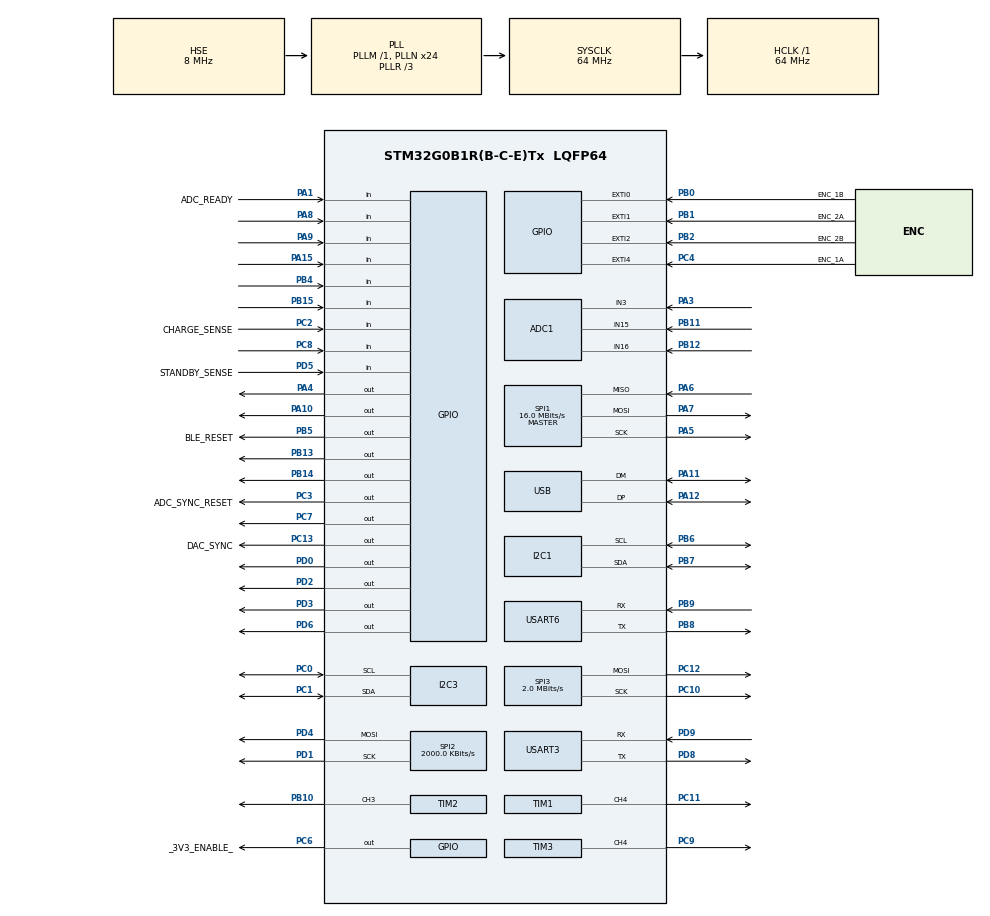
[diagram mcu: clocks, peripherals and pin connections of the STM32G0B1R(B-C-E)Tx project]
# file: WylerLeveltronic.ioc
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ADC1.NbrOfConversion=1
ADC1.NbrOfConversionFlag=0
ADC1.OversamplingMode=ENABLE
ADC1.Ratio=ADC_OVERSAMPLING_RATIO_16
ADC1.RightBitShift=ADC_RIGHTBITSHIFT_4
ADC1.SamplingTimeCommon1=ADC_SAMPLETIME_160CYCLES_5
ADC1.SelectedChannel=ADC_CHANNEL_3|ADC_CHANNEL_VREFINT|ADC_CHANNEL_15|ADC_CHANNEL_16
ADC1.Sequencer=NOT_FULLY_CONFIGURABLE
ADC1.master=1
Dma.ADC1.6.Direction=DMA_PERIPH_TO_MEMORY
Dma.ADC1.6.EventEnable=DISABLE
Dma.ADC1.6.Instance=DMA1_Channel7
Dma.ADC1.6.MemDataAlignment=DMA_MDATAALIGN_HALFWORD
Dma.ADC1.6.MemInc=DMA_MINC_ENABLE
Dma.ADC1.6.Mode=DMA_NORMAL
Dma.ADC1.6.PeriphDataAlignment=DMA_PDATAALIGN_HALFWORD
Dma.ADC1.6.PeriphInc=DMA_PINC_DISABLE
Dma.ADC1.6.Polarity=HAL_DMAMUX_REQ_GEN_RISING
Dma.ADC1.6.Priority=DMA_PRIORITY_LOW
Dma.ADC1.6.RequestNumber=1
Dma.ADC1.6.SignalID=NONE
Dma.ADC1.6.SyncEnable=DISABLE
Dma.ADC1.6.SyncPolarity=HAL_DMAMUX_SYNC_NO_EVENT
Dma.ADC1.6.SyncRequestNumber=1
Dma.ADC1.6.SyncSignalID=NONE
Dma.I2C1_RX.3.Direction=DMA_PERIPH_TO_MEMORY
Dma.I2C1_RX.3.EventEnable=DISABLE
Dma.I2C1_RX.3.Instance=DMA1_Channel4
Dma.I2C1_RX.3.MemDataAlignment=DMA_MDATAALIGN_BYTE
Dma.I2C1_RX.3.MemInc=DMA_MINC_ENABLE
Dma.I2C1_RX.3.Mode=DMA_NORMAL
Dma.I2C1_RX.3.PeriphDataAlignment=DMA_PDATAALIGN_BYTE
Dma.I2C1_RX.3.PeriphInc=DMA_PINC_DISABLE
Dma.I2C1_RX.3.Polarity=HAL_DMAMUX_REQ_GEN_RISING
Dma.I2C1_RX.3.Priority=DMA_PRIORITY_LOW
Dma.I2C1_RX.3.RequestNumber=1
Dma.I2C1_RX.3.SignalID=NONE
Dma.I2C1_RX.3.SyncEnable=DISABLE
Dma.I2C1_RX.3.SyncPolarity=HAL_DMAMUX_SYNC_NO_EVENT
Dma.I2C1_RX.3.SyncRequestNumber=1
Dma.I2C1_RX.3.SyncSignalID=NONE
Dma.I2C1_TX.4.Direction=DMA_MEMORY_TO_PERIPH
Dma.I2C1_TX.4.EventEnable=DISABLE
Dma.I2C1_TX.4.Instance=DMA1_Channel5
Dma.I2C1_TX.4.MemDataAlignment=DMA_MDATAALIGN_BYTE
Dma.I2C1_TX.4.MemInc=DMA_MINC_ENABLE
Dma.I2C1_TX.4.Mode=DMA_NORMAL
Dma.I2C1_TX.4.PeriphDataAlignment=DMA_PDATAALIGN_BYTE
Dma.I2C1_TX.4.PeriphInc=DMA_PINC_DISABLE
Dma.I2C1_TX.4.Polarity=HAL_DMAMUX_REQ_GEN_RISING
Dma.I2C1_TX.4.Priority=DMA_PRIORITY_LOW
Dma.I2C1_TX.4.RequestNumber=1
Dma.I2C1_TX.4.SignalID=NONE
Dma.I2C1_TX.4.SyncEnable=DISABLE
Dma.I2C1_TX.4.SyncPolarity=HAL_DMAMUX_SYNC_NO_EVENT
Dma.I2C1_TX.4.SyncRequestNumber=1
Dma.I2C1_TX.4.SyncSignalID=NONE
Dma.Request0=SPI2_TX
Dma.Request1=SPI1_TX
Dma.Request2=SPI1_RX
Dma.Request3=I2C1_RX
Dma.Request4=I2C1_TX
Dma.Request5=USART6_RX
Dma.Request6=ADC1
Dma.Request7=USART3_RX
Dma.Request8=USART3_TX
Dma.Request9=USART6_TX
Dma.SPI1_RX.2.Direction=DMA_PERIPH_TO_MEMORY
Dma.SPI1_RX.2.EventEnable=DISABLE
Dma.SPI1_RX.2.Instance=DMA1_Channel3
Dma.SPI1_RX.2.MemDataAlignment=DMA_MDATAALIGN_BYTE
Dma.SPI1_RX.2.MemInc=DMA_MINC_ENABLE
Dma.SPI1_RX.2.Mode=DMA_NORMAL
Dma.SPI1_RX.2.PeriphDataAlignment=DMA_PDATAALIGN_BYTE
Dma.SPI1_RX.2.PeriphInc=DMA_PINC_DISABLE
Dma.SPI1_RX.2.Polarity=HAL_DMAMUX_REQ_GEN_RISING
Dma.SPI1_RX.2.Priority=DMA_PRIORITY_LOW
Dma.SPI1_RX.2.RequestNumber=1
Dma.SPI1_RX.2.SignalID=NONE
Dma.SPI1_RX.2.SyncEnable=DISABLE
Dma.SPI1_RX.2.SyncPolarity=HAL_DMAMUX_SYNC_NO_EVENT
Dma.SPI1_RX.2.SyncRequestNumber=1
Dma.SPI1_RX.2.SyncSignalID=NONE
Dma.SPI1_TX.1.Direction=DMA_MEMORY_TO_PERIPH
Dma.SPI1_TX.1.EventEnable=DISABLE
Dma.SPI1_TX.1.Instance=DMA1_Channel2
Dma.SPI1_TX.1.MemDataAlignment=DMA_MDATAALIGN_BYTE
Dma.SPI1_TX.1.MemInc=DMA_MINC_ENABLE
Dma.SPI1_TX.1.Mode=DMA_NORMAL
Dma.SPI1_TX.1.PeriphDataAlignment=DMA_PDATAALIGN_BYTE
Dma.SPI1_TX.1.PeriphInc=DMA_PINC_DISABLE
Dma.SPI1_TX.1.Polarity=HAL_DMAMUX_REQ_GEN_RISING
Dma.SPI1_TX.1.Priority=DMA_PRIORITY_LOW
Dma.SPI1_TX.1.RequestNumber=1
Dma.SPI1_TX.1.SignalID=NONE
Dma.SPI1_TX.1.SyncEnable=DISABLE
Dma.SPI1_TX.1.SyncPolarity=HAL_DMAMUX_SYNC_NO_EVENT
Dma.SPI1_TX.1.SyncRequestNumber=1
Dma.SPI1_TX.1.SyncSignalID=NONE
Dma.SPI2_TX.0.Direction=DMA_MEMORY_TO_PERIPH
Dma.SPI2_TX.0.EventEnable=DISABLE
Dma.SPI2_TX.0.Instance=DMA1_Channel1
Dma.SPI2_TX.0.MemDataAlignment=DMA_MDATAALIGN_BYTE
Dma.SPI2_TX.0.MemInc=DMA_MINC_ENABLE
Dma.SPI2_TX.0.Mode=DMA_NORMAL
Dma.SPI2_TX.0.PeriphDataAlignment=DMA_PDATAALIGN_BYTE
Dma.SPI2_TX.0.PeriphInc=DMA_PINC_DISABLE
Dma.SPI2_TX.0.Polarity=HAL_DMAMUX_REQ_GEN_RISING
Dma.SPI2_TX.0.Priority=DMA_PRIORITY_LOW
Dma.SPI2_TX.0.RequestNumber=1
Dma.SPI2_TX.0.SignalID=NONE
Dma.SPI2_TX.0.SyncEnable=DISABLE
Dma.SPI2_TX.0.SyncPolarity=HAL_DMAMUX_SYNC_NO_EVENT
Dma.SPI2_TX.0.SyncRequestNumber=1
Dma.SPI2_TX.0.SyncSignalID=NONE
Dma.USART3_RX.7.Direction=DMA_PERIPH_TO_MEMORY
Dma.USART3_RX.7.EventEnable=DISABLE
Dma.USART3_RX.7.Instance=DMA2_Channel1
Dma.USART3_RX.7.MemDataAlignment=DMA_MDATAALIGN_BYTE
Dma.USART3_RX.7.MemInc=DMA_MINC_ENABLE
Dma.USART3_RX.7.Mode=DMA_NORMAL
Dma.USART3_RX.7.PeriphDataAlignment=DMA_PDATAALIGN_BYTE
Dma.USART3_RX.7.PeriphInc=DMA_PINC_DISABLE
Dma.USART3_RX.7.Polarity=HAL_DMAMUX_REQ_GEN_RISING
Dma.USART3_RX.7.Priority=DMA_PRIORITY_LOW
Dma.USART3_RX.7.RequestNumber=1
Dma.USART3_RX.7.SignalID=NONE
Dma.USART3_RX.7.SyncEnable=DISABLE
Dma.USART3_RX.7.SyncPolarity=HAL_DMAMUX_SYNC_NO_EVENT
Dma.USART3_RX.7.SyncRequestNumber=1
Dma.USART3_RX.7.SyncSignalID=NONE
Dma.USART3_TX.8.Direction=DMA_MEMORY_TO_PERIPH
Dma.USART3_TX.8.EventEnable=DISABLE
Dma.USART3_TX.8.Instance=DMA2_Channel2
Dma.USART3_TX.8.MemDataAlignment=DMA_MDATAALIGN_BYTE
Dma.USART3_TX.8.MemInc=DMA_MINC_ENABLE
Dma.USART3_TX.8.Mode=DMA_NORMAL
Dma.USART3_TX.8.PeriphDataAlignment=DMA_PDATAALIGN_BYTE
Dma.USART3_TX.8.PeriphInc=DMA_PINC_DISABLE
Dma.USART3_TX.8.Polarity=HAL_DMAMUX_REQ_GEN_RISING
Dma.USART3_TX.8.Priority=DMA_PRIORITY_LOW
Dma.USART3_TX.8.RequestNumber=1
Dma.USART3_TX.8.SignalID=NONE
Dma.USART3_TX.8.SyncEnable=DISABLE
Dma.USART3_TX.8.SyncPolarity=HAL_DMAMUX_SYNC_NO_EVENT
Dma.USART3_TX.8.SyncRequestNumber=1
Dma.USART3_TX.8.SyncSignalID=NONE
Dma.USART6_RX.5.Direction=DMA_PERIPH_TO_MEMORY
Dma.USART6_RX.5.EventEnable=DISABLE
Dma.USART6_RX.5.Instance=DMA1_Channel6
Dma.USART6_RX.5.MemDataAlignment=DMA_MDATAALIGN_BYTE
Dma.USART6_RX.5.MemInc=DMA_MINC_ENABLE
Dma.USART6_RX.5.Mode=DMA_CIRCULAR
Dma.USART6_RX.5.PeriphDataAlignment=DMA_PDATAALIGN_BYTE
Dma.USART6_RX.5.PeriphInc=DMA_PINC_DISABLE
Dma.USART6_RX.5.Polarity=HAL_DMAMUX_REQ_GEN_RISING
Dma.USART6_RX.5.Priority=DMA_PRIORITY_LOW
Dma.USART6_RX.5.RequestNumber=1
Dma.USART6_RX.5.SignalID=NONE
Dma.USART6_RX.5.SyncEnable=DISABLE
Dma.USART6_RX.5.SyncPolarity=HAL_DMAMUX_SYNC_NO_EVENT
Dma.USART6_RX.5.SyncRequestNumber=1
Dma.USART6_RX.5.SyncSignalID=NONE
Dma.USART6_TX.9.Direction=DMA_MEMORY_TO_PERIPH
Dma.USART6_TX.9.EventEnable=DISABLE
Dma.USART6_TX.9.Instance=DMA2_Channel3
Dma.USART6_TX.9.MemDataAlignment=DMA_MDATAALIGN_BYTE
Dma.USART6_TX.9.MemInc=DMA_MINC_ENABLE
Dma.USART6_TX.9.Mode=DMA_NORMAL
Dma.USART6_TX.9.PeriphDataAlignment=DMA_PDATAALIGN_BYTE
Dma.USART6_TX.9.PeriphInc=DMA_PINC_DISABLE
Dma.USART6_TX.9.Polarity=HAL_DMAMUX_REQ_GEN_RISING
Dma.USART6_TX.9.Priority=DMA_PRIORITY_LOW
Dma.USART6_TX.9.RequestNumber=1
Dma.USART6_TX.9.SignalID=NONE
Dma.USART6_TX.9.SyncEnable=DISABLE
Dma.USART6_TX.9.SyncPolarity=HAL_DMAMUX_SYNC_NO_EVENT
Dma.USART6_TX.9.SyncRequestNumber=1
Dma.USART6_TX.9.SyncSignalID=NONE
I2C1.Timing=0x10B17DB5
I2C3.Timing=0x10B17DB5
Mcu.Family=STM32G0
Mcu.Name=STM32G0B1R(B-C-E)Tx
Mcu.Package=LQFP64
NVIC.ADC1_COMP_IRQn=true\:0\:0\:false\:false\:true\:true\:true\:true
NVIC.DMA1_Ch4_7_DMA2_Ch1_5_DMAMUX1_OVR_IRQn=true\:0\:0\:false\:false\:true\:false\:true\:true
NVIC.DMA1_Channel1_IRQn=true\:0\:0\:false\:false\:true\:false\:true\:true
NVIC.DMA1_Channel2_3_IRQn=true\:2\:0\:false\:false\:true\:false\:true\:true
NVIC.EXTI0_1_IRQn=true\:0\:0\:false\:false\:true\:true\:true\:true
NVIC.EXTI2_3_IRQn=true\:0\:0\:false\:false\:true\:true\:true\:true
NVIC.EXTI4_15_IRQn=true\:0\:0\:false\:false\:true\:true\:true\:true
NVIC.I2C1_IRQn=true\:1\:0\:false\:false\:true\:false\:true\:true
NVIC.TIM3_TIM4_IRQn=true\:2\:0\:false\:false\:true\:false\:true\:true
NVIC.TIM6_DAC_LPTIM1_IRQn=true\:0\:0\:false\:false\:true\:true\:true\:true
NVIC.TIM7_LPTIM2_IRQn=true\:2\:0\:false\:false\:true\:true\:true\:true
NVIC.USART3_4_5_6_LPUART1_IRQn=true\:0\:0\:false\:false\:true\:true\:true\:true
NVIC.USB_UCPD1_2_IRQn=true\:0\:0\:false\:false\:true\:true\:true\:true
PA0.Mode=SYS_WakeUp0
PA0.Signal=SYS_WKUP1
PA1.GPIO_Label=ADC_READY
PA1.Signal=GPIO_Input
PA10.Signal=GPIO_Output
PA11\ [PA9].Mode=Device
PA11\ [PA9].Signal=USB_DM
PA12\ [PA10].Mode=Device
PA12\ [PA10].Signal=USB_DP
PA13.Mode=Serial_Wire
PA13.Signal=SYS_SWDIO
PA14-BOOT0.Mode=Serial_Wire
PA14-BOOT0.Signal=SYS_SWCLK
PA15.Signal=GPIO_Input
PA2.Mode=SYS_WakeUp3
PA2.Signal=SYS_WKUP4
PA3.Mode=IN3
PA3.Signal=ADC1_IN3
PA4.Signal=GPIO_Output
PA5.Mode=Full_Duplex_Master
PA5.Signal=SPI1_SCK
PA6.Mode=Full_Duplex_Master
PA6.Signal=SPI1_MISO
PA7.Mode=Full_Duplex_Master
PA7.Signal=SPI1_MOSI
PA8.Signal=GPIO_Input
PA9.Signal=GPIO_Input
PB0.GPIO_Label=ENC_1B
PB0.GPIO_ModeDefaultEXTI=GPIO_MODE_IT_RISING_FALLING
PB0.Signal=GPXTI0
PB1.GPIO_Label=ENC_2A
PB1.GPIO_ModeDefaultEXTI=GPIO_MODE_IT_RISING_FALLING
PB1.Signal=GPXTI1
PB10.Signal=S_TIM2_CH3
PB11.Mode=IN15
PB11.Signal=ADC1_IN15
PB12.Mode=IN16
PB12.Signal=ADC1_IN16
PB13.Signal=GPIO_Output
PB14.Signal=GPIO_Output
PB15.Signal=GPIO_Input
PB2.GPIO_Label=ENC_2B
PB2.GPIO_ModeDefaultEXTI=GPIO_MODE_IT_RISING_FALLING
PB2.Signal=GPXTI2
PB4.Signal=GPIO_Input
PB5.GPIO_Label=BLE_RESET
PB5.PinState=GPIO_PIN_SET
PB5.Signal=GPIO_Output
PB6.Mode=I2C
PB6.Signal=I2C1_SCL
PB7.Mode=I2C
PB7.Signal=I2C1_SDA
PB8.Mode=Asynchronous
PB8.Signal=USART6_TX
PB9.Mode=Asynchronous
PB9.Signal=USART6_RX
PC0.Mode=I2C
PC0.Signal=I2C3_SCL
PC1.Mode=I2C
PC1.Signal=I2C3_SDA
PC10.Mode=TX_Only_Simplex_Unidirect_Master
PC10.Signal=SPI3_SCK
PC11.Signal=S_TIM1_CH4
PC12.Mode=TX_Only_Simplex_Unidirect_Master
PC12.Signal=SPI3_MOSI
PC13.GPIO_Label=DAC_SYNC
PC13.PinState=GPIO_PIN_SET
PC13.Signal=GPIO_Output
PC14-OSC32_IN\ (PC14).Mode=LSE-External-Oscillator
PC14-OSC32_IN\ (PC14).Signal=RCC_OSC32_IN
PC15-OSC32_OUT\ (PC15).Mode=LSE-External-Oscillator
PC15-OSC32_OUT\ (PC15).Signal=RCC_OSC32_OUT
PC2.GPIO_Label=CHARGE_SENSE
PC2.GPIO_PuPd=GPIO_PULLUP
PC2.Signal=GPIO_Input
PC3.GPIO_Label=ADC_SYNC_RESET
PC3.PinState=GPIO_PIN_SET
PC3.Signal=GPIO_Output
PC4.GPIO_Label=ENC_1A
PC4.GPIO_ModeDefaultEXTI=GPIO_MODE_IT_RISING_FALLING
PC4.Signal=GPXTI4
PC5.Mode=SYS_WakeUp4
PC5.Signal=SYS_WKUP5
PC6.GPIO_Label=_3V3_ENABLE_
PC6.PinState=GPIO_PIN_RESET
PC6.Signal=GPIO_Output
PC7.Signal=GPIO_Output
PC8.Signal=GPIO_Input
PC9.Signal=S_TIM3_CH4
PD0.Signal=GPIO_Output
PD1.Mode=TX_Only_Simplex_Unidirect_Master
PD1.Signal=SPI2_SCK
PD2.Signal=GPIO_Output
PD3.Signal=GPIO_Output
PD4.Mode=TX_Only_Simplex_Unidirect_Master
PD4.Signal=SPI2_MOSI
PD5.GPIO_Label=STANDBY_SENSE
PD5.GPIO_PuPd=GPIO_PULLUP
PD5.Signal=GPIO_Input
PD6.Signal=GPIO_Output
PD8.Mode=Asynchronous
PD8.Signal=USART3_TX
PD9.Mode=Asynchronous
PD9.Signal=USART3_RX
PF0-OSC_IN\ (PF0).Mode=HSE-External-Oscillator
PF0-OSC_IN\ (PF0).Signal=RCC_OSC_IN
PF1-OSC_OUT\ (PF1).Mode=HSE-External-Oscillator
PF1-OSC_OUT\ (PF1).Signal=RCC_OSC_OUT
ProjectManager.HeapSize=0x200
ProjectManager.StackSize=0x400
ProjectManager.TargetToolchain=CMake
RCC.ADCFreq_Value=64000000
RCC.AHBFreq_Value=64000000
RCC.CortexFreq_Value=64000000
RCC.EXTERNAL_CLOCK_VALUE=48000
RCC.HCLKFreq_Value=64000000
RCC.HSE_VALUE=8000000
RCC.HSI48_VALUE=48000000
RCC.HSI_VALUE=16000000
RCC.PLLN=24
RCC.PLLQ=RCC_PLLQ_DIV4
RCC.PLLR=RCC_PLLR_DIV3
RCC.PLLSourceVirtual=RCC_PLLSOURCE_HSE
RCC.RTCClockSelection=RCC_RTCCLKSOURCE_LSE
RCC.SYSCLKFreq_VALUE=64000000
RCC.SYSCLKSource=RCC_SYSCLKSOURCE_PLLCLK
RCC.USBCLockSelection=RCC_USBCLKSOURCE_PLL
RCC.USBFreq_Value=48000000
RCC.VCOOutputFreq_Value=192000000
SH.S_TIM1_CH4.0=TIM1_CH4,PWM Generation4 CH4
SH.S_TIM2_CH3.0=TIM2_CH3,PWM Generation3 CH3
SH.S_TIM3_CH4.0=TIM3_CH4,PWM Generation4 CH4
SPI1.BaudRatePrescaler=SPI_BAUDRATEPRESCALER_4
SPI1.CalculateBaudRate=16.0 MBits/s
SPI1.DataSize=SPI_DATASIZE_8BIT
SPI1.Direction=SPI_DIRECTION_2LINES
SPI1.CLKPhase=SPI_PHASE_2EDGE
SPI1.Mode=SPI_MODE_MASTER
SPI1.VirtualType=VM_MASTER
SPI2.BaudRatePrescaler=SPI_BAUDRATEPRESCALER_32
SPI2.CalculateBaudRate=2000.0 KBits/s
SPI2.DataSize=SPI_DATASIZE_8BIT
SPI2.Direction=SPI_DIRECTION_2LINES
SPI2.Mode=SPI_MODE_MASTER
SPI2.VirtualType=VM_MASTER
SPI3.BaudRatePrescaler=SPI_BAUDRATEPRESCALER_32
SPI3.CalculateBaudRate=2.0 MBits/s
SPI3.Direction=SPI_DIRECTION_2LINES
SPI3.CLKPolarity=SPI_POLARITY_HIGH
SPI3.DataSize=SPI_DATASIZE_16BIT
SPI3.Mode=SPI_MODE_MASTER
SPI3.VirtualType=VM_MASTER
TIM2.Channel-PWM\ Generation3\ CH3=TIM_CHANNEL_3
TIM2.Period=5
TIM2.Prescaler=1
TIM2.Pulse-PWM\ Generation3\ CH3=3
TIM1.Channel-PWM\ Generation4\ CH4=TIM_CHANNEL_4
TIM1.Period=5
TIM1.Prescaler=1
TIM1.Pulse-PWM\ Generation4\ CH4=3
TIM7.AutoReloadPreload=TIM_AUTORELOAD_PRELOAD_ENABLE
TIM7.Period=1535
TIM3.AutoReloadPreload=TIM_AUTORELOAD_PRELOAD_ENABLE
TIM3.Channel-PWM\ Generation4\ CH4=TIM_CHANNEL_4
TIM3.Period=999
TIM3.Prescaler=63
TIM3.Pulse-PWM\ Generation4\ CH4=500
TIM6.Period=99
TIM6.Prescaler=63999
USART3.VirtualMode-Asynchronous=VM_ASYNC
USART6.VirtualMode-Asynchronous=VM_ASYNC
USB_DEVICE.CLASS_NAME_FS=CUSTOM_HID
USB_DEVICE.MANUFACTURER_STRING=soldernerd
USB_DEVICE.PID_CUSTOMHID_FS=0xF08F
USB_DEVICE.PRODUCT_STRING_CUSTOMHID_FS=InclinationMeter
USB_DEVICE.USBD_CUSTOMHID_OUTREPORT_BUF_SIZE=64
USB_DEVICE.USBD_CUSTOM_HID_REPORT_DESC_SIZE=29
USB_DEVICE.VID=0x04D8
USB_DEVICE.VirtualMode=CustomHid
USB_DEVICE.VirtualModeFS=Custom_Hid_FS
USB_DRD_FS.Sof_enable=DISABLE
USB_DRD_FS.bulk_doublebuffer_enable=DISABLE
USB_DRD_FS.iso_singlebuffer_enable=DISABLE
VP_ADC1_Vref_Input.Mode=IN-Vrefint
VP_RTC_VS_RTC_Activate.Mode=RTC_Enabled
VP_SYS_VS_DBSignals.Mode=DisableDeadBatterySignals
VP_TIM2_VS_ClockSourceINT.Mode=Internal
VP_TIM3_VS_ClockSourceINT.Mode=Internal
VP_TIM6_VS_ClockSourceINT.Mode=Enable_Timer
VP_TIM7_VS_ClockSourceINT.Mode=Enable_Timer
VP_USB_DEVICE_VS_USB_DEVICE_CUSTOM_HID_FS.Mode=CUSTOM_HID_FS
board=custom

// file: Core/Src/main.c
/* USER CODE BEGIN Header */
/**
  ******************************************************************************
  * @file           : main.c
  * @brief          : Main program body
  ******************************************************************************
  * @attention
  *
  * Copyright (c) 2026 STMicroelectronics.
  * All rights reserved.
  *
  * This software is licensed under terms that can be found in the LICENSE file
  * in the root directory of this software component.
  * If no LICENSE file comes with this software, it is provided AS-IS.
  *
  ******************************************************************************
  */
/* USER CODE END Header */
#include "main.h"
#include "adc.h"
#include "dma.h"
#include "i2c.h"
#include "rtc.h"
#include "spi.h"
#include "tim.h"
#include "usart.h"
#include "usb_device.h"
#include "gpio.h"

/* USER CODE BEGIN Includes */
#include "hal_gpio.h"
#include "hal_systick.h"
#include "hal_spi.h"
#include "hal_tim.h"
#include "hal_i2c.h"
#include "hal_adc.h"
#include "hal_uart.h"
#include "hal_power.h"
#include "hal_rtc.h"
#include "system_state.h"
#include "drv_tmp236.h"
#include "drv_lm35.h"
#include "drv_bme280.h"
#include "drv_24lc256.h"
#include "drv_encoder.h"
#include "drv_buzzer.h"
#include "drv_ad9833.h"
#include "svc_displacement.h"
#include "svc_storage.h"
#include "svc_battery.h"
#include "app_scheduler.h"
#include "app_display.h"
#include "app_leds.h"
#include "app_ui.h"
#include "svc_input.h"
#include "pin_config.h"
#include "svc_usb.h"
#include "svc_ble.h"
#include "svc_uart.h"
#include "svc_power.h"
#include "svc_api.h"
#include "svc_log.h"
#include "svc_service.h"
#include "hal_fault.h"
#include "hal_wdt.h"
#include "svc_powertest.h"
#include "app_version.h"
#include "stm32g0xx_ll_gpio.h"
#include "stm32g0xx_ll_bus.h"
/* USER CODE END Includes */

void SystemClock_Config(void);

int main(void)
{

  /* MCU Configuration--------------------------------------------------------*/

  /* Reset of all peripherals, Initializes the Flash interface and the Systick. */
  HAL_Init();

  /* USER CODE BEGIN Init */
  /* Deliberate boot order (agreed 2026-09-03; restructured 2026-09-05 —
   * see the long comment in USER CODE 2 below for why and where the rest
   * of this sequence now lives). Checked/cleared as early as possible,
   * before anything else touches PWR. */
  hal_power_capture_reset_cause();
  hal_fault_collect();          /* the record a fault handler left before the last reset, if any */
  g_system_state.woke_from_standby = hal_power_woke_from_standby();
  /* USER CODE END Init */

  /* Configure the system clock */
  SystemClock_Config();

  /* Initialize all configured peripherals */
  MX_GPIO_Init();
  MX_DMA_Init();
  MX_TIM3_Init();
  MX_SPI1_Init();
  MX_SPI2_Init();
  MX_ADC1_Init();
  MX_I2C1_Init();
  MX_SPI3_Init();
  MX_TIM6_Init();
  MX_USART3_UART_Init();
  MX_USART6_UART_Init();
  MX_I2C3_Init();
  MX_USB_Device_Init();
  MX_RTC_Init();
  MX_TIM1_Init();
  MX_TIM2_Init();
  MX_TIM7_Init();
  /* USER CODE BEGIN 2 */
  svc_log_init();             /* log ring up first: every later init may log into it */
  svc_service_init();
  {
    const MathFaultRecord *lf = hal_fault_last();
    if (lf->kind != 0U) {
      svc_logf(API2_LOG_ERROR, "boot: previous run ended in a %s at pc=0x%08lX lr=0x%08lX",
               lf->kind == MATH_FAULT_HARDFAULT ? "HardFault" : "failed initialisation",
               (unsigned long)lf->pc, (unsigned long)lf->lr);
    }
    if ((hal_power_reset_cause() & 0x18U) != 0U) {
      svc_log(API2_LOG_ERROR, "boot: the previous run was ended by a watchdog reset");
    }
  }
  /* Deliberate boot order (agreed 2026-09-03). Originally interleaved
   * directly between the individual MX_*_Init() calls above, each step a
   * checkpoint observable on LED_STS without a debugger attached — but
   * that section is CubeMX-owned and gets fully regenerated on every
   * regen (lost whole, silently, on 2026-09-05's RTC/USB clock change —
   * caught only by diffing before committing). Restructured to live
   * entirely here instead, in the one block CubeMX has always left alone:
   * every MX_*_Init() above only configures registers/pins, none of them
   * touch a live bus or need a rail up yet, so it's safe to let CubeMX
   * run them all first, in whatever order it wants, and do the actual
   * rail sequencing and bus-touching init below, in the same relative
   * order and with the same scoped delays as before.
   *   1. LEDs/GPIO proof of life        4. internal ADC (no digital bus)
   *   2. 3V3 rail + settle              5. digital-bus peripherals, gated
   *   3. 5V rail + settle                  on their rail: I2C1/EEPROM
   *                                         (3V3), SPI2/display (5V)
   * !3V3_EN! is touched exactly once (step 2) — no pre-HAL_Init head-start
   * spin: that existed only for the brown-out theory, which is ruled out
   * (BOR is off in the option bytes; raising supply voltage to normal made
   * no difference either). */
  app_leds_init();
  hal_gpio_init();              /* remaining pin defaults — no rails, no LEDs (see hal_gpio.c) */
  hal_systick_init();

  /* Re-prioritise IRQs for the ADS131M04 frame-ring drain (runs in
   * SysTick_Handler). CubeMX leaves SysTick at the lowest priority (3),
   * behind a wall of priority-0 handlers, so under an IRQ burst the drain
   * can be pushed close to the ~2 ms ring-overflow margin
   * (docs/adc_acquisition_redesign.md; 3-angle review, 2026-09-08). Done
   * here in owned code, not the CubeMX MspInit files, so a regen can't
   * revert it — same reasoning as hal_tim.c's TIM7 override.
   *   SysTick                     3 -> 1 : drain now preempts the below.
   *   DMA1_Ch1  (display blit done, 2 flag stores)
   *   DMA1_Ch4_7 (I2C1 / ADC1 DMA-complete callbacks)
   *   TIM6      (5 Hz VCOM toggle, latency-insensitive)   0 -> 2
   * Unchanged and still above the drain: TIM7 (ADC trigger, 0), ADC1_COMP
   * (0), the encoder EXTI lines (0 — must not miss an edge), UART (0). */
  HAL_NVIC_SetPriority(SysTick_IRQn, 1, 0);
  HAL_NVIC_SetPriority(DMA1_Channel1_IRQn, 2, 0);
  HAL_NVIC_SetPriority(DMA1_Ch4_7_DMA2_Ch1_5_DMAMUX1_OVR_IRQn, 2, 0);
  HAL_NVIC_SetPriority(TIM6_DAC_LPTIM1_IRQn, 2, 0);

  HAL_GPIO_TogglePin(LED_STS_PORT, LED_STS_PIN);   /* checkpoint: GPIO/LEDs up */

  hal_tim_init();
  HAL_GPIO_TogglePin(LED_STS_PORT, LED_STS_PIN);   /* checkpoint: timers configured */

  /* 3.3V rail. Needed in WP2 for the battery-sense divider (its low-side
   * gate needs this rail live so the divider doesn't otherwise bleed the
   * battery while "off") and the EEPROM. Scoped: the rail is fully up
   * within a couple of ms of the enable; 5 ms is ample. */
  hal_gpio_set(PWR_3V3_EN_PORT, PWR_3V3_EN_PIN, false);   /* !3V3_EN! active-LOW: LOW = rail ON */
  HAL_Delay(5);
  HAL_GPIO_TogglePin(LED_STS_PORT, LED_STS_PIN);   /* checkpoint: 3.3V rail settled */

  /* 5V rail. Needed for the display and both temp sensors. Bringing it
   * (and the -5V inverter off it) up transiently sags the shared battery
   * node, dipping 3.3V ~0.7 V for ~23 ms before it recovers (scoped).
   * 30 ms here so everything — including that 3.3V recovery — is fully
   * settled before the ADC/VREF work below. */
  hal_gpio_set(PWR_5V_EN_PORT, PWR_5V_EN_PIN, true);
  HAL_Delay(40);   /* 30 ms was just enough on the scope; 40 for margin */
  HAL_GPIO_TogglePin(LED_STS_PORT, LED_STS_PIN);   /* checkpoint: 5V rail settled */

  /* Internal ADC — no digital bus, no external chip to wait on beyond
   * VREF+/VDDA (always-on rail) already being stable.
   * ADC calibration failure is NOT boot-halting (CLAUDE.md 7.6 escalation):
   * a wake-from-Standby with the 3V3/VREF rail still settling used to brick
   * the device here in Error_Handler(). hal_adc_init() already retries; if
   * it still fails, flag it and carry on — svc_battery/drv_tmp236 gate on
   * ADC .valid and simply report nothing until a later scan succeeds. */
  g_system_state.adc_ok = hal_adc_init();
  drv_tmp236_init();             /* no-op: reads via the same internal ADC, no bus of its own */
  drv_lm35_init();               /* likewise — external-temp channel of the same ADC scan */
  HAL_GPIO_TogglePin(LED_STS_PORT, LED_STS_PIN);   /* checkpoint: ADC calibration done */

  /* I2C1 / EEPROM — needs the 3.3V rail above up. */
  hal_i2c_init(HAL_I2C_MAIN);
  /* Storage must come before scheduler init — it populates
   * g_device_settings, which the scheduler reads for its task periods. */
  svc_storage_init();
  drv_24lc256_init();            /* idempotent — svc_storage_init already calls this */
  HAL_GPIO_TogglePin(LED_STS_PORT, LED_STS_PIN);   /* checkpoint: EEPROM load/seed done */

  /* BME280 environmental sensor (WP9) -- shares I2C1 with the EEPROM
   * above (hal_i2c_init(HAL_I2C_MAIN) already ran), needs 3V3_EN already
   * up (same stopgap-no-rail-sequencing situation as the other sensors,
   * see hal_gpio_init()'s own comment). Unlike the DAC/ADC precision
   * measurement chain, this is an auxiliary sensor -- a missing/faulty
   * part shouldn't brick the instrument's core inclination-measurement
   * function, same reasoning as drv_tmp236_init()/drv_buzzer_init()/
   * drv_encoder_init() not being checked either. drv_bme280.c guards
   * itself against a failed init internally (won't run garbage
   * compensation math on uninitialised calibration data);
   * g_system_state.bme280_ok simply never becomes true if this fails,
   * which is the CLAUDE.md 7.6 escalation here -- observable, just not
   * boot-halting. */
  (void)drv_bme280_init();

  /* SPI2 / display — needs the 5V rail above up. */
  hal_spi_init(HAL_SPI_DISPLAY);
  app_display_init();
  HAL_GPIO_TogglePin(LED_STS_PORT, LED_STS_PIN);   /* checkpoint: display init kicked off */

  /* Local UI layer (WP3): rotary encoders (EXTI on GPIO), push-switch
   * polling, buzzer PWM (TIM3 + 5V rail above), and the UI state machine.
   * All before the scheduler starts pumping task_input/task_buzzer/task_ui. */
  drv_encoder_init(ENCODER_1);
  drv_encoder_init(ENCODER_2);
  drv_buzzer_init();
  svc_input_init();
  app_ui_init();
  HAL_GPIO_TogglePin(LED_STS_PORT, LED_STS_PIN);   /* checkpoint: UI layer up */

  /* AD9833 waveform-generator DAC (WP7) — SPI3 + TIM1 MCLK, both
   * CubeMX-generated above; needs the 3V3/5V rails already up. One-shot
   * init: it programs the chip for a fixed sine output, starts its MCLK,
   * and the DDS then free-runs on-chip with no scheduler task (see
   * Drivers_App/drv_ad9833.h). Not boot-critical — a failure here is
   * logged, not fatal, same as the ADC. */
  if (drv_ad9833_init() != DRV_OK) {
    g_system_state.dac_ok = false;
  } else {
    g_system_state.dac_ok = true;
  }

  /* ADS131M04 4-ch ADC (WP8) — SPI1 full-duplex DMA + TIM2 MCLK + TIM7
   * sample trigger (all CubeMX-generated above); WP10's
   * svc_displacement_init() registers its per-sample callback then
   * configures drv_ads131m04. Not boot-critical — same non-fatal
   * handling as the DAC / internal ADC: ads_ok reflects only whether the
   * chip/pipeline itself initialized, independent of whether the demod
   * is currently running (bulk-capture dispatch in svc_api.c checks
   * ads_ok as a precondition regardless of run state, so this flag must
   * NOT fold in start()'s result). */
  g_system_state.ads_ok = (svc_displacement_init() == DRV_OK);
  /* Actually starting the pipeline (svc_displacement_start()) is deferred
   * to just before app_scheduler_run() below -- see that call site's
   * comment for why it's no longer gated behind an API command but still
   * isn't started HERE, this early. */

  /* WP4 comms stack. svc_api_init() before the three transport inits:
   * each registers itself via svc_api_register_transport(), which needs
   * the transport table already zeroed. svc_ble_init() also pulses the
   * RN4871's ~RESET and kicks off its (non-blocking) config state
   * machine, pumped thereafter from task_ble. */
  svc_powertest_init();       /* power-investigation mask defaults to "all on" */
  svc_api_init();
  /* App owns "re-apply DeviceSettings after a host SET" — svc_api calls
   * this hook instead of #including app_scheduler.h (deps flow downward). */
  svc_api_register_settings_changed(app_scheduler_reload_periods);
  svc_usb_init();
  hal_uart_init(HAL_UART_BLE);    /* USART6 RX DMA up before the RN4871 talks */
  svc_ble_init();
  hal_uart_init(HAL_UART_DEBUG);  /* USART3 — the wired debug/VCP API transport */
  svc_uart_init();
  svc_battery_init();
  svc_log(API2_LOG_INFO, "boot: comms stack up");
  svc_logf(API2_LOG_INFO, "boot fw %s adc%u dac%u ads%u bme%u ee%u",
           FW_VERSION_STRING,
           (unsigned)g_system_state.adc_ok, (unsigned)g_system_state.dac_ok,
           (unsigned)g_system_state.ads_ok, (unsigned)g_system_state.bme280_ok,
           (unsigned)g_system_state.eeprom_selftest);

  /* WP6 power management: RTC (calendar keeps running through Standby) and
   * the auto power-off idle timer. After svc_input_init()/svc_storage_init()
   * so svc_power_init() sees valid encoder state and the loaded
   * auto_poweroff_s. */
  hal_rtc_init();
  if (hal_rtc_set_trim_ppm_x10(g_device_settings.rtc_trim_ppm_x10) != DRV_OK) {   /* settings are loaded by now */
    svc_log(API2_LOG_WARN, "rtc: trim not applied");
  }
  svc_power_init();

  app_scheduler_init();
  hal_adc_start();             /* kick off the first ADC scan */

  /* Auto-start WP10 displacement (2026-09-26) -- it used to require an
   * explicit API Commands/API2_RES_CMD_DISPLACEMENT EXECUTE, "same
   * bring-up caution WP8 established" (running the ADC pipeline
   * unconditionally at boot starved the cooperative scheduler before the
   * batching fix existed). That caution predates this project's
   * margin-hardening work (config.h's DISPLACEMENT_BATCH_CYCLES/
   * _BATCH_RING_DEPTH/_MAX_BATCHES_PER_TICK) -- with that headroom restored,
   * and given the whole point of this instrument is to show an
   * inclination reading without needing a host connected, requiring an
   * API call just to see the primary measurement was the wrong default.
   * Placed here, last in setup (comms/RTC/power/scheduler table all
   * already up), not back at svc_displacement_init() above -- the
   * original caution was specifically about starting THIS EARLY in boot,
   * before the rest of the system has settled; starting once everything
   * else is ready is the more conservative reading of "the fix removed
   * the risk," not "the risk never mattered." Return dropped
   * deliberately: svc_displacement_start() is idempotent and its only
   * failure mode is the ADS131M04 not having init'd, already reported
   * via ads_ok above (same reasoning Services/svc_api.c's
   * cmd_displacement() documents for this exact call). */
  if (g_system_state.ads_ok) {
    if (svc_displacement_start() != DRV_OK) {
      svc_log(API2_LOG_ERROR, "displacement: start failed at boot");
    }
  } else {
    svc_log(API2_LOG_WARN, "displacement: not started (ADC init failed)");
  }
  /* Supervised window watchdog (HAL_App/hal_wdt.h): started last, just before the scheduler, so the (slow)
   * initialisation above runs unsupervised. */
  hal_wdt_start();
  /* USER CODE END 2 */

  /* Infinite loop */
  /* USER CODE BEGIN WHILE */
  app_scheduler_run();  /* never returns */
  while (1)
  {
    /* USER CODE END WHILE */

  }
}

void SystemClock_Config(void)
{
  RCC_OscInitTypeDef RCC_OscInitStruct = {0};
  RCC_ClkInitTypeDef RCC_ClkInitStruct = {0};

  /** Configure the main internal regulator output voltage
  */
  HAL_PWREx_ControlVoltageScaling(PWR_REGULATOR_VOLTAGE_SCALE1);

  /** Configure LSE Drive Capability
  */
  HAL_PWR_EnableBkUpAccess();
  /* HAND-EDIT (WP6, 2026-09-05): LSEDRV may only be written while the LSE
   * is stopped (RM0444 "LSEDRV can be written only when LSEON = 0 and
   * LSERDY = 0"). On a wake from Standby the backup domain kept the LSE
   * crystal running, so this write glitches the oscillator; HAL_RCC_OscConfig()
   * below then spins the full RCC_LSE_TIMEOUT_VALUE (5 s) waiting for LSERDY,
   * times out, and main() drops into Error_Handler() — an infinite loop
   * before the first LED. Only (re)configure the drive on a genuine cold
   * start (LSE not yet running); on a warm wake OscConfig sees LSERDY
   * already set and skips its wait. A CubeMX regen will drop this guard —
   * see memory/cubemx-regen-hazards. */
  if (__HAL_RCC_GET_FLAG(RCC_FLAG_LSERDY) == 0U)
  {
    __HAL_RCC_LSEDRIVE_CONFIG(RCC_LSEDRIVE_LOW);
  }

  /** Initializes the RCC Oscillators according to the specified parameters
  * in the RCC_OscInitTypeDef structure.
  */
  RCC_OscInitStruct.OscillatorType = RCC_OSCILLATORTYPE_HSE|RCC_OSCILLATORTYPE_LSE;
  RCC_OscInitStruct.HSEState = RCC_HSE_ON;
  RCC_OscInitStruct.LSEState = RCC_LSE_ON;
  RCC_OscInitStruct.PLL.PLLState = RCC_PLL_ON;
  RCC_OscInitStruct.PLL.PLLSource = RCC_PLLSOURCE_HSE;
  RCC_OscInitStruct.PLL.PLLM = RCC_PLLM_DIV1;
  RCC_OscInitStruct.PLL.PLLN = 24;
  RCC_OscInitStruct.PLL.PLLP = RCC_PLLP_DIV2;
  RCC_OscInitStruct.PLL.PLLQ = RCC_PLLQ_DIV4;
  RCC_OscInitStruct.PLL.PLLR = RCC_PLLR_DIV3;
  if (HAL_RCC_OscConfig(&RCC_OscInitStruct) != HAL_OK)
  {
    Error_Handler();
  }

  /** Initializes the CPU, AHB and APB buses clocks
  */
  RCC_ClkInitStruct.ClockType = RCC_CLOCKTYPE_HCLK|RCC_CLOCKTYPE_SYSCLK
                              |RCC_CLOCKTYPE_PCLK1;
  RCC_ClkInitStruct.SYSCLKSource = RCC_SYSCLKSOURCE_PLLCLK;
  RCC_ClkInitStruct.AHBCLKDivider = RCC_SYSCLK_DIV1;
  RCC_ClkInitStruct.APB1CLKDivider = RCC_HCLK_DIV1;

  if (HAL_RCC_ClockConfig(&RCC_ClkInitStruct, FLASH_LATENCY_2) != HAL_OK)
  {
    Error_Handler();
  }
}

void Error_Handler(void)
{
  /* USER CODE BEGIN Error_Handler_Debug */
  /* User can add his own implementation to report the HAL error return state */
  __disable_irq();
  hal_fault_record_init_failure((uint32_t)(uintptr_t)__builtin_return_address(0));   /* reported after the next reset */
  while (1)
  {
  }
  /* USER CODE END Error_Handler_Debug */
}
